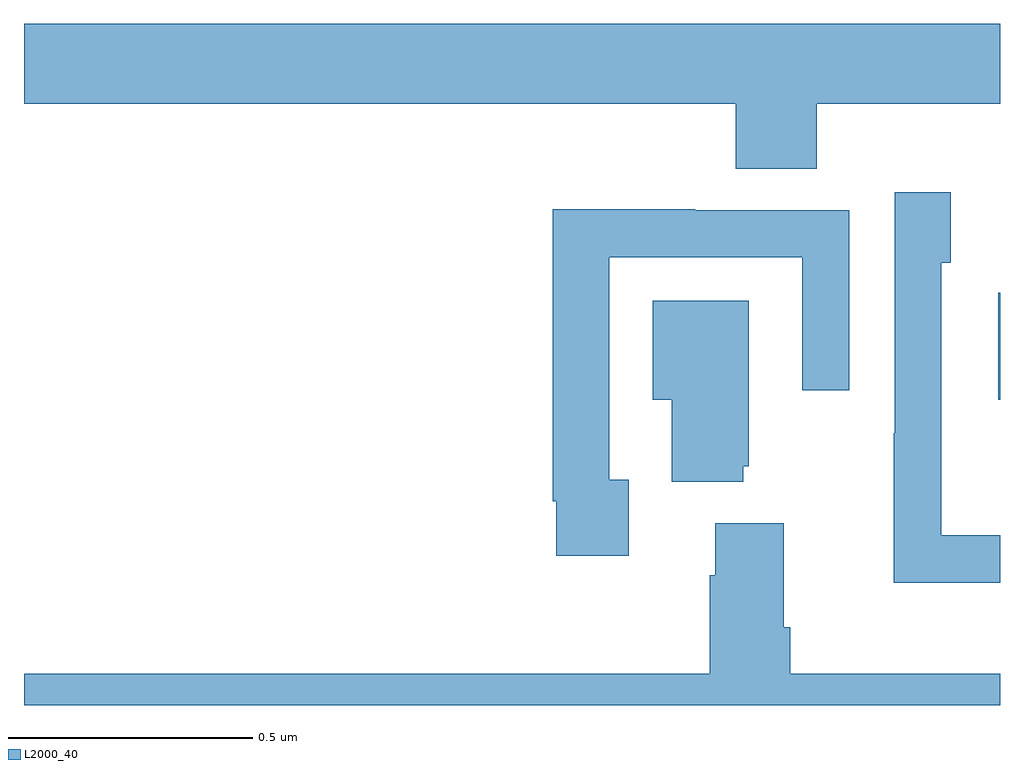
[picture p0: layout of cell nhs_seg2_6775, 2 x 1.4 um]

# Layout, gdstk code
import gdstk
lib = gdstk.Library(unit=1e-6, precision=1e-09)
def R(c, l, rs):  # rectangles x0, y0, x1, y1
    for r in rs: c.add(gdstk.rectangle(r[:2], r[2:], *l))
def P(c, l, *ps):  # polygons
    for p in ps: c.add(gdstk.Polygon(p, *l))
L2000_40 = (2000, 40)

nhs_seg2_6775 = lib.new_cell('nhs_seg2_6775')
R(nhs_seg2_6775, L2000_40, [(197.996,584.426,198,584.645)])
P(nhs_seg2_6775, L2000_40, [(197.624,585.032),(198,585.032),(198,585.196),(196,585.196),(196,585.032),(197.459,585.032),(197.459,584.899),(197.624,584.899)],
  [(198,584.148),(197.88,584.148),(197.88,584.706),(197.899,584.706),(197.899,584.851),(197.784,584.851),(197.784,584.357),(197.782,584.357),(197.782,584.051),(198,584.051)],
  [(197.239,584.262),(197.199,584.262),(197.199,584.718),(197.595,584.718),(197.595,584.445),(197.691,584.445),(197.691,584.814),(197.375,584.814),(197.375,584.816),(197.083,584.816),(197.083,584.218),(197.091,584.218),(197.091,584.106),(197.239,584.106)],
  [(197.474,584.289),(197.485,584.289),(197.485,584.629),(197.288,584.629),(197.288,584.426),(197.327,584.426),(197.327,584.258),(197.474,584.258)],
  [(198,583.864),(197.57,583.864),(197.57,583.96),(197.557,583.96),(197.557,584.173),(197.417,584.173),(197.417,584.066),(197.405,584.066),(197.405,583.864),(196,583.864),(196,583.8),(198,583.8)])

lib.write_gds('nhs_seg2_6775.gds')
